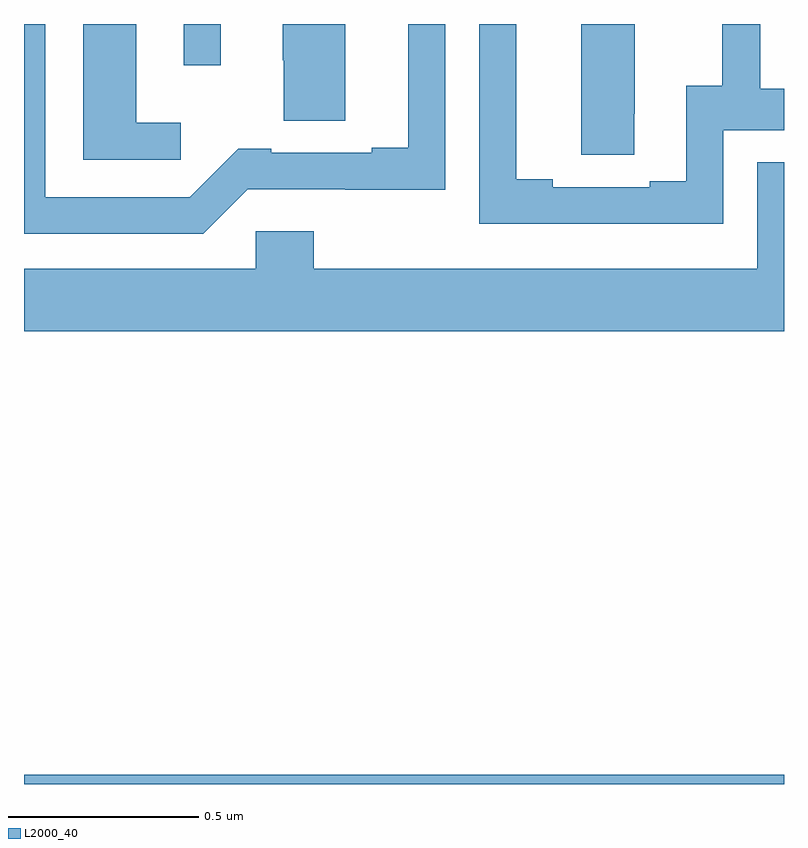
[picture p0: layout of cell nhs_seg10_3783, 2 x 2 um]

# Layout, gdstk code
import gdstk
lib = gdstk.Library(unit=1e-6, precision=1e-09)
def R(c, l, rs):  # rectangles x0, y0, x1, y1
    for r in rs: c.add(gdstk.rectangle(r[:2], r[2:], *l))
def P(c, l, *ps):  # polygons
    for p in ps: c.add(gdstk.Polygon(p, *l))
L2000_40 = (2000, 40)

nhs_seg10_3783 = lib.new_cell('nhs_seg10_3783')
R(nhs_seg10_3783, L2000_40, [(158,1256.5,160,1256.524), (158.421,1258.392,158.518,1258.5)])
P(nhs_seg10_3783, L2000_40, [(159.84,1258.221),(160,1258.221),(160,1258.33),(159.938,1258.33),(159.938,1258.5),(159.838,1258.5),(159.838,1258.337),(159.743,1258.337),(159.743,1258.086),(159.647,1258.086),(159.647,1258.071),(159.391,1258.071),(159.391,1258.091),(159.295,1258.091),(159.295,1258.5),(159.198,1258.5),(159.198,1257.975),(159.84,1257.975)],
  [(159.606,1258.264),(159.607,1258.264),(159.607,1258.5),(159.467,1258.5),(159.467,1258.156),(159.606,1258.156)],
  [(158.413,1258.24),(158.296,1258.24),(158.296,1258.5),(158.156,1258.5),(158.156,1258.143),(158.413,1258.143)],
  [(158.589,1258.065),(158.845,1258.065),(158.845,1258.064),(159.108,1258.064),(159.108,1258.5),(159.011,1258.5),(159.011,1258.174),(158.915,1258.174),(158.915,1258.161),(158.65,1258.161),(158.65,1258.172),(158.564,1258.172),(158.436,1258.044),(158.056,1258.044),(158.056,1258.5),(158,1258.5),(158,1257.948),(158.472,1257.948)],
  [(158.845,1258.5),(158.681,1258.5),(158.681,1258.404),(158.683,1258.404),(158.683,1258.246),(158.845,1258.246)],
  [(160,1258.136),(159.929,1258.136),(159.929,1257.856),(158.762,1257.856),(158.762,1257.954),(158.61,1257.954),(158.61,1257.856),(158,1257.856),(158,1257.692),(160,1257.692)])

lib.write_gds('nhs_seg10_3783.gds')
